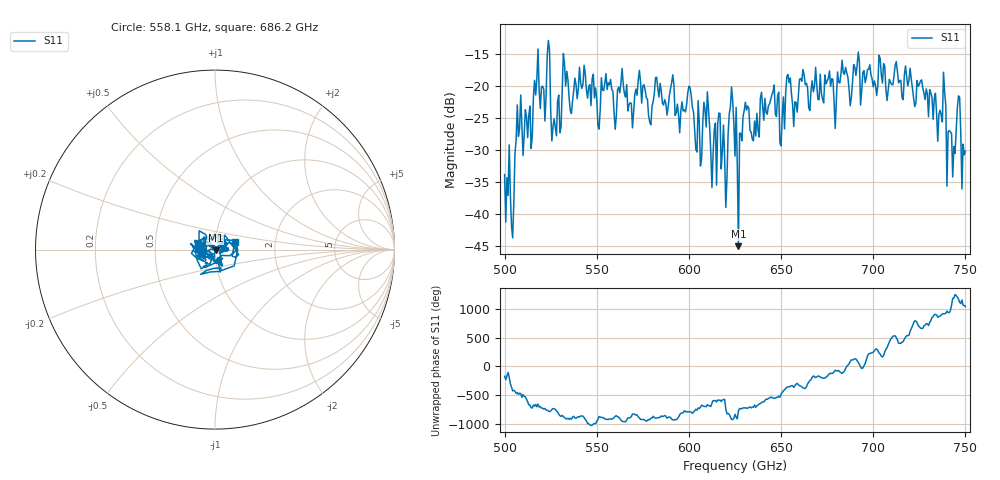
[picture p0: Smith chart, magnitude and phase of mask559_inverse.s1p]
!Created with skrf (http://scikit-rf.org).
# GHz S MA R 50.0
!freq magS11 angS11
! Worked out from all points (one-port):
!   401 points, 500 GHz to 750 GHz, reference 50 ohm
!   lowest |S11| = -45.0 dB at 626.9 GHz (marker M1), VSWR 1.01, Z = 50.4 - j0.432 ohm
!   |S11| at or under -10 dB: start of sweep to end of sweep
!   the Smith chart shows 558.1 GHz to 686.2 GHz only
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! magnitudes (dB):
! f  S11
! 500 GHz  -33.8
! 504.4 GHz  -43.7
! 507.5 GHz  -27.8
! 513.8 GHz  -23.1
! 516.9 GHz  -21.4
! 523.8 GHz  -12.9
! 526.9 GHz  -25.1
! 531.2 GHz  -20.8
! 562.5 GHz  -21.0
! 579.4 GHz  -26.0
! 590.6 GHz  -19.5
! 593.8 GHz  -22.8
! 600.6 GHz  -20.2
! 605.6 GHz  -25.9
! 609.4 GHz  -26.4
! 619.4 GHz  -31.2
! 622.5 GHz  -23.2
! 625 GHz  -30.9
! 626.9 GHz  -45.0
! 631.2 GHz  -23.7
! 635 GHz  -28.5
! 656.2 GHz  -22.9
! 687.5 GHz  -23.1
! 718.8 GHz  -20.0
! 738.1 GHz  -17.8
! 743.1 GHz  -34.2
! 746.2 GHz  -21.5
! 750 GHz  -30.1
